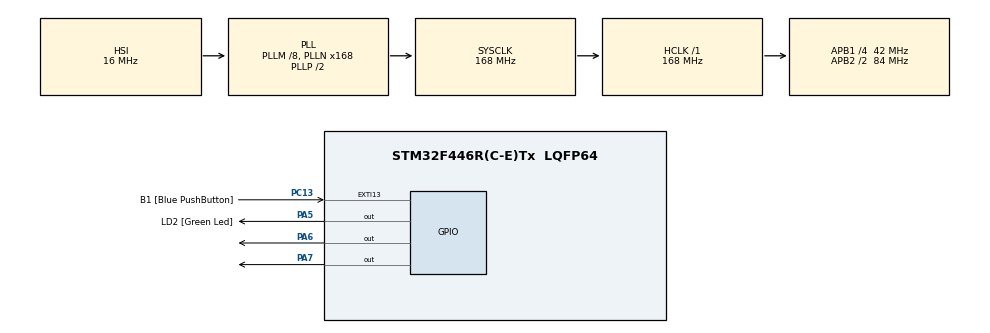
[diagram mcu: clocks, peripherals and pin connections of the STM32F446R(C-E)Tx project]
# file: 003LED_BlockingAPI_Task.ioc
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Mcu.Family=STM32F4
Mcu.Name=STM32F446R(C-E)Tx
Mcu.Package=LQFP64
NVIC.PriorityGroup=NVIC_PRIORITYGROUP_4
NVIC.TIM6_DAC_IRQn=true\:15\:0\:false\:false\:true\:false\:true\:true
NVIC.TimeBase=TIM6_DAC_IRQn
NVIC.TimeBaseIP=TIM6
PA13.GPIO_Label=TMS
PA13.Signal=SYS_JTMS-SWDIO
PA14.GPIO_Label=TCK
PA14.Signal=SYS_JTCK-SWCLK
PA2.GPIO_Label=USART_TX
PA2.Signal=USART2_TX
PA3.GPIO_Label=USART_RX
PA3.Signal=USART2_RX
PA5.GPIO_Label=LD2 [Green Led]
PA5.Signal=GPIO_Output
PA6.Signal=GPIO_Output
PA7.Signal=GPIO_Output
PB3.GPIO_Label=SWO
PB3.Signal=SYS_JTDO-SWO
PC13.GPIO_Label=B1 [Blue PushButton]
PC13.GPIO_ModeDefaultEXTI=GPIO_MODE_IT_FALLING
PC13.Signal=GPXTI13
PC14-OSC32_IN.Signal=RCC_OSC32_IN
PC15-OSC32_OUT.Signal=RCC_OSC32_OUT
PH0-OSC_IN.Signal=RCC_OSC_IN
PH1-OSC_OUT.Signal=RCC_OSC_OUT
ProjectManager.HeapSize=0x200
ProjectManager.StackSize=0x400
ProjectManager.TargetToolchain=STM32CubeIDE
RCC.AHBFreq_Value=168000000
RCC.APB1CLKDivider=RCC_HCLK_DIV4
RCC.APB1Freq_Value=42000000
RCC.APB1TimFreq_Value=84000000
RCC.APB2CLKDivider=RCC_HCLK_DIV2
RCC.APB2Freq_Value=84000000
RCC.APB2TimFreq_Value=168000000
RCC.CortexFreq_Value=168000000
RCC.FLatency-AdvancedSettings=FLASH_LATENCY_5
RCC.HCLKFreq_Value=168000000
RCC.HSE_VALUE=8000000
RCC.HSI_VALUE=16000000
RCC.LSE_VALUE=32768
RCC.PLLM=8
RCC.PLLN=168
RCC.SYSCLKFreq_VALUE=168000000
RCC.SYSCLKSource=RCC_SYSCLKSOURCE_PLLCLK
RCC.USBFreq_Value=168000000
RCC.VCOOutputFreq_Value=336000000
VP_SYS_VS_tim6.Mode=TIM6
board=NUCLEO-F446RE

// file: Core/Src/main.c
/* USER CODE BEGIN Header */
/**
  ******************************************************************************
  * @file           : main.c
  * @brief          : Main program body
  ******************************************************************************
  * @attention
  *
  * Copyright (c) 2026 STMicroelectronics.
  * All rights reserved.
  *
  * This software is licensed under terms that can be found in the LICENSE file
  * in the root directory of this software component.
  * If no LICENSE file comes with this software, it is provided AS-IS.
  *
  ******************************************************************************
  */
/* USER CODE END Header */
#include "main.h"

/* USER CODE BEGIN Includes */

#include "FreeRTOS.h"
#include "task.h"
/* USER CODE END Includes */

/* USER CODE BEGIN PV */
#define DWT_CTRL    (*(volatile uint32_t*)0xE0001000)
/* USER CODE END PV */

void SystemClock_Config(void);
static void MX_GPIO_Init(void);
/* USER CODE BEGIN PFP */
static void led_green_handler(void* parameters);
static void led_orange_handler(void* parameters);
static void led_red_handler(void* parameters);

extern  void SEGGER_UART_init(uint32_t);
/* USER CODE END PFP */

int main(void)
{

  /* USER CODE BEGIN 1 */
	TaskHandle_t task1_handle;
	TaskHandle_t task2_handle;
	TaskHandle_t task3_handle;

	BaseType_t status;
  /* USER CODE END 1 */

  /* MCU Configuration--------------------------------------------------------*/

  /* Reset of all peripherals, Initializes the Flash interface and the Systick. */
  HAL_Init();

  /* Configure the system clock */
  SystemClock_Config();

  /* Initialize all configured peripherals */
  MX_GPIO_Init();
  /* USER CODE BEGIN 2 */
  //Enable the CYCCNT counter.
  DWT_CTRL |= ( 1 << 0);

  SEGGER_SYSVIEW_Conf();

  SEGGER_UART_init(500000);

  //SEGGER_SYSVIEW_Start();

  status = xTaskCreate(led_green_handler, "LED_green_task", 200, NULL, 2, &task1_handle);

  configASSERT(status == pdPASS);

  status = xTaskCreate(led_red_handler, "LED_red_task", 200,NULL, 2, &task2_handle);

  configASSERT(status == pdPASS);

  status = xTaskCreate(led_orange_handler, "LED_orange_task", 200, NULL, 2, &task3_handle);

  configASSERT(status == pdPASS);

  //start the freeRTOS scheduler
  vTaskStartScheduler();

     //if the control comes here, then the launch of the scheduler has failed due to
     //insufficient memory in heap
  /* USER CODE END 2 */

  /* Infinite loop */
  while (1)
  {

  }
}

void SystemClock_Config(void)
{
  RCC_OscInitTypeDef RCC_OscInitStruct = {0};
  RCC_ClkInitTypeDef RCC_ClkInitStruct = {0};

  /** Configure the main internal regulator output voltage
  */
  __HAL_RCC_PWR_CLK_ENABLE();
  __HAL_PWR_VOLTAGESCALING_CONFIG(PWR_REGULATOR_VOLTAGE_SCALE1);

  /** Initializes the RCC Oscillators according to the specified parameters
  * in the RCC_OscInitTypeDef structure.
  */
  RCC_OscInitStruct.OscillatorType = RCC_OSCILLATORTYPE_HSI;
  RCC_OscInitStruct.HSIState = RCC_HSI_ON;
  RCC_OscInitStruct.HSICalibrationValue = RCC_HSICALIBRATION_DEFAULT;
  RCC_OscInitStruct.PLL.PLLState = RCC_PLL_ON;
  RCC_OscInitStruct.PLL.PLLSource = RCC_PLLSOURCE_HSI;
  RCC_OscInitStruct.PLL.PLLM = 8;
  RCC_OscInitStruct.PLL.PLLN = 168;
  RCC_OscInitStruct.PLL.PLLP = RCC_PLLP_DIV2;
  RCC_OscInitStruct.PLL.PLLQ = 2;
  RCC_OscInitStruct.PLL.PLLR = 2;
  if (HAL_RCC_OscConfig(&RCC_OscInitStruct) != HAL_OK)
  {
    Error_Handler();
  }

  /** Initializes the CPU, AHB and APB buses clocks
  */
  RCC_ClkInitStruct.ClockType = RCC_CLOCKTYPE_HCLK|RCC_CLOCKTYPE_SYSCLK
                              |RCC_CLOCKTYPE_PCLK1|RCC_CLOCKTYPE_PCLK2;
  RCC_ClkInitStruct.SYSCLKSource = RCC_SYSCLKSOURCE_PLLCLK;
  RCC_ClkInitStruct.AHBCLKDivider = RCC_SYSCLK_DIV1;
  RCC_ClkInitStruct.APB1CLKDivider = RCC_HCLK_DIV4;
  RCC_ClkInitStruct.APB2CLKDivider = RCC_HCLK_DIV2;

  if (HAL_RCC_ClockConfig(&RCC_ClkInitStruct, FLASH_LATENCY_5) != HAL_OK)
  {
    Error_Handler();
  }
}

static void MX_GPIO_Init(void)
{
  GPIO_InitTypeDef GPIO_InitStruct = {0};

  /* GPIO Ports Clock Enable */
  __HAL_RCC_GPIOC_CLK_ENABLE();
  __HAL_RCC_GPIOH_CLK_ENABLE();
  __HAL_RCC_GPIOA_CLK_ENABLE();
  __HAL_RCC_GPIOB_CLK_ENABLE();

  /*Configure GPIO pin Output Level */
  HAL_GPIO_WritePin(GPIOA, LD2_Pin|GPIO_PIN_6|GPIO_PIN_7, GPIO_PIN_RESET);

  /*Configure GPIO pin : B1_Pin */
  GPIO_InitStruct.Pin = B1_Pin;
  GPIO_InitStruct.Mode = GPIO_MODE_IT_FALLING;
  GPIO_InitStruct.Pull = GPIO_NOPULL;
  HAL_GPIO_Init(B1_GPIO_Port, &GPIO_InitStruct);

  /*Configure GPIO pins : USART_TX_Pin USART_RX_Pin */
  GPIO_InitStruct.Pin = USART_TX_Pin|USART_RX_Pin;
  GPIO_InitStruct.Mode = GPIO_MODE_AF_PP;
  GPIO_InitStruct.Pull = GPIO_NOPULL;
  GPIO_InitStruct.Speed = GPIO_SPEED_FREQ_VERY_HIGH;
  GPIO_InitStruct.Alternate = GPIO_AF7_USART2;
  HAL_GPIO_Init(GPIOA, &GPIO_InitStruct);

  /*Configure GPIO pins : LD2_Pin PA6 PA7 */
  GPIO_InitStruct.Pin = LD2_Pin|GPIO_PIN_6|GPIO_PIN_7;
  GPIO_InitStruct.Mode = GPIO_MODE_OUTPUT_PP;
  GPIO_InitStruct.Pull = GPIO_NOPULL;
  GPIO_InitStruct.Speed = GPIO_SPEED_FREQ_LOW;
  HAL_GPIO_Init(GPIOA, &GPIO_InitStruct);

}

/* USER CODE BEGIN 4 */
static void led_green_handler(void* parameters)
{

	while(1)
	{
		SEGGER_SYSVIEW_PrintfTarget("Toggling green LED");
		HAL_GPIO_TogglePin(GPIOA, LED_GREEN_PIN);
		vTaskDelay(pdMS_TO_TICKS(1000));
	}

}

static void led_orange_handler(void* parameters)
{
	while(1)
	{
		SEGGER_SYSVIEW_PrintfTarget("Toggling orange LED");
		HAL_GPIO_TogglePin(GPIOA, LED_ORANGE_PIN);
		vTaskDelay(pdMS_TO_TICKS(800));
	}

}

static void led_red_handler(void* parameters)
{
	while(1)
	{
		SEGGER_SYSVIEW_PrintfTarget("Toggling red LED");
		HAL_GPIO_TogglePin(GPIOA, LED_RED_PIN);
		vTaskDelay(pdMS_TO_TICKS(400));
	}

}

void vApplicationIdleHook( void )
{
	HAL_PWR_EnterSLEEPMode(PWR_MAINREGULATOR_ON, PWR_SLEEPENTRY_WFI);

}
/* USER CODE END 4 */

void HAL_TIM_PeriodElapsedCallback(TIM_HandleTypeDef *htim)
{
  if (htim->Instance == TIM6)
  {
    HAL_IncTick();
  }
}

void Error_Handler(void)
{
  __disable_irq();
  while (1)
  {
  }
}
